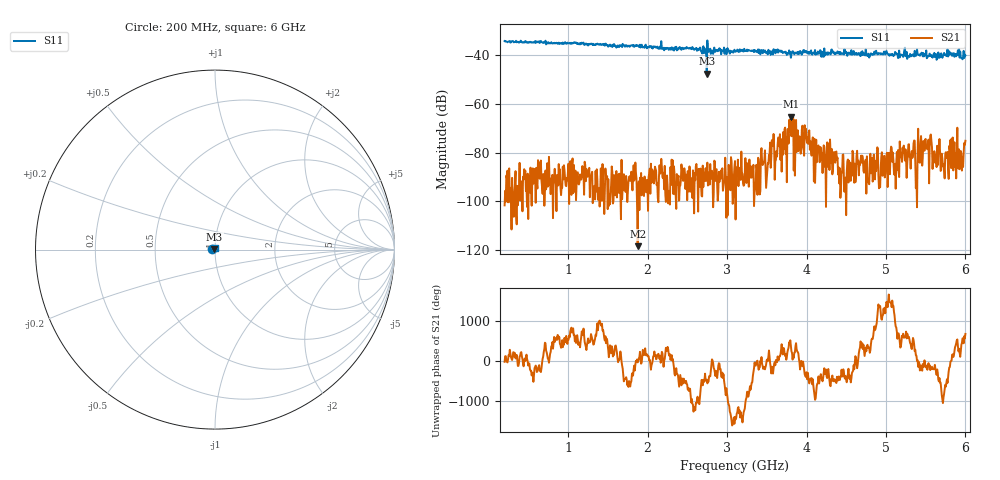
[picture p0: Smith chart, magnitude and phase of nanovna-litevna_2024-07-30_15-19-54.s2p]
! NanoVNA-App by OneOfEleven et al v1.1.209 (+OD15)
! Date: 2024-07-30 15:19:59
! Start: 200MHz Stop: 6GHz Points: 801
! S-Parameter data: F S11 S21 S12 S22
# Hz S RI R 50
!  Frequency  S11_Real  S11_Imag  S21_Real  S21_Imag  S12_Real  S12_Imag  S22_Real  S22_Imag
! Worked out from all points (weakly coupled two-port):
!   801 points, 200 MHz to 6 GHz, reference 50 ohm
!   highest |S21| = -65.23 dB at 3.803 GHz (marker M1); lowest = -118.5 dB at 1.875 GHz (marker M2)
!   lowest |S11| = -47.6 dB at 2.745 GHz (marker M3), VSWR 1.01, Z = 49.7 + j0.279 ohm
!   |S11| at or under -10 dB: start of sweep to end of sweep
!   S12 and S22 are empty: the file has one direction only
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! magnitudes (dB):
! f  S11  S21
! 200 MHz  -34.2  -101.7
! 1.171 GHz  -34.8  -89.8
! 1.875 GHz  -36.0  -118.5
! 2.136 GHz  -37.1  -100.4
! 2.745 GHz  -47.6  -91.3
! 3.1 GHz  -38.4  -83.5
! 3.506 GHz  -39.1  -88.1
! 3.564 GHz  -38.9  -74.9
! 3.724 GHz  -38.6  -70.4
! 3.803 GHz  -41.1  -65.2
! 3.905 GHz  -39.5  -74.0
! 4.006 GHz  -39.0  -76.0
! 4.072 GHz  -39.7  -75.3
! 4.354 GHz  -39.6  -81.2
! 5.036 GHz  -39.7  -80.1
! 5.398 GHz  -39.6  -80.4
! 5.543 GHz  -40.2  -92.6
! 5.609 GHz  -39.1  -79.4
! 5.761 GHz  -40.4  -82.2
! 5.833 GHz  -40.3  -86.2
! 5.949 GHz  -41.2  -80.4
! 6 GHz  -40.1  -75.2
